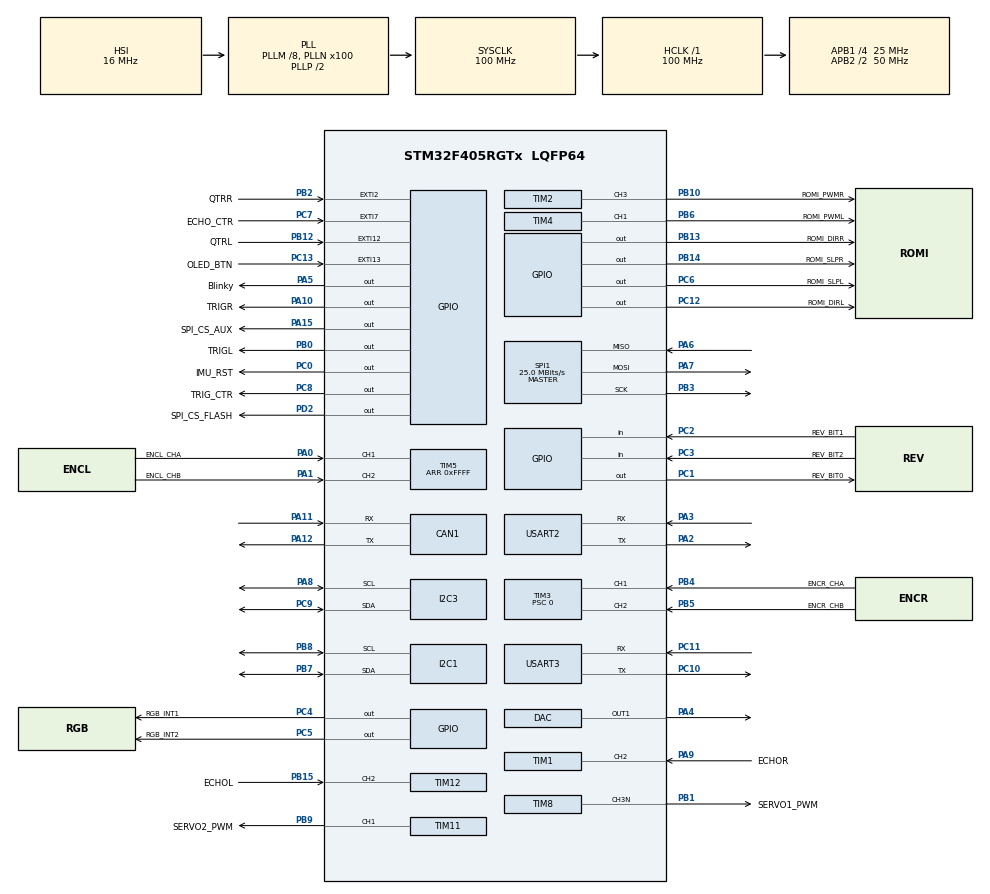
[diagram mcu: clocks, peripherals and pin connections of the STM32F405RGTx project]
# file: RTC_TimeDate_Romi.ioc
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CAN1.BS1=CAN_BS1_1TQ
CAN1.BS2=CAN_BS2_1TQ
CAN1.CalculateTimeQuantum=640.0
I2C1.I2C_Mode=I2C_Fast
Mcu.Family=STM32F4
Mcu.Name=STM32F405RGTx
Mcu.Package=LQFP64
Mcu.UserConstants=MOTOR_PWM_PERIOD,1000
NVIC.EXTI15_10_IRQn=true\:0\:0\:false\:false\:true\:true\:true
NVIC.EXTI9_5_IRQn=true\:0\:0\:false\:false\:true\:true\:true
NVIC.PriorityGroup=NVIC_PRIORITYGROUP_4
NVIC.TIM1_BRK_TIM9_IRQn=true\:0\:0\:false\:false\:true\:true\:true
NVIC.TIM2_IRQn=true\:0\:0\:false\:false\:true\:true\:true
NVIC.TIM6_DAC_IRQn=true\:0\:0\:false\:false\:true\:true\:true
NVIC.TIM7_IRQn=true\:0\:0\:false\:false\:true\:true\:true
NVIC.TIM8_BRK_TIM12_IRQn=true\:0\:0\:false\:false\:true\:true\:true
NVIC.USART2_IRQn=true\:0\:0\:false\:false\:true\:true\:true
PA0-WKUP.GPIO_Label=ENCL_CHA
PA0-WKUP.Signal=S_TIM5_CH1
PA1.GPIO_Label=ENCL_CHB
PA1.Signal=S_TIM5_CH2
PA10.GPIO_Label=TRIGR
PA10.Signal=GPIO_Output
PA11.Mode=Master
PA11.Signal=CAN1_RX
PA12.Mode=Master
PA12.Signal=CAN1_TX
PA13.Mode=Serial_Wire
PA13.Signal=SYS_JTMS-SWDIO
PA14.Mode=Serial_Wire
PA14.Signal=SYS_JTCK-SWCLK
PA15.GPIO_Label=SPI_CS_AUX
PA15.Signal=GPIO_Output
PA2.Mode=Asynchronous
PA2.Signal=USART2_TX
PA3.Mode=Asynchronous
PA3.Signal=USART2_RX
PA4.Signal=COMP_DAC1_group
PA5.GPIO_Label=Blinky
PA5.Signal=GPIO_Output
PA6.Mode=Full_Duplex_Master
PA6.Signal=SPI1_MISO
PA7.Mode=Full_Duplex_Master
PA7.Signal=SPI1_MOSI
PA8.Mode=I2C
PA8.Signal=I2C3_SCL
PA9.GPIO_Label=ECHOR
PA9.Signal=S_TIM1_CH2
PB0.GPIO_Label=TRIGL
PB0.Signal=GPIO_Output
PB1.GPIO_Label=SERVO1_PWM 
PB1.Mode=PWM Generation3 CH3N
PB1.Signal=TIM8_CH3N
PB10.GPIO_Label=ROMI_PWMR
PB10.Signal=S_TIM2_CH3
PB12.GPIO_Label=QTRL
PB12.Signal=GPXTI12
PB13.GPIO_Label=ROMI_DIRR
PB13.Signal=GPIO_Output
PB14.GPIO_Label=ROMI_SLPR
PB14.Signal=GPIO_Output
PB15.GPIO_Label=ECHOL
PB15.Signal=S_TIM12_CH2
PB2.GPIO_Label=QTRR
PB2.Signal=GPXTI2
PB3.Mode=Full_Duplex_Master
PB3.Signal=SPI1_SCK
PB4.GPIO_Label=ENCR_CHA
PB4.GPIO_PuPd=GPIO_NOPULL
PB4.Signal=S_TIM3_CH1
PB5.GPIO_Label=ENCR_CHB
PB5.GPIO_PuPd=GPIO_NOPULL
PB5.Signal=S_TIM3_CH2
PB6.GPIO_Label=ROMI_PWML
PB6.Signal=S_TIM4_CH1
PB7.Mode=I2C
PB7.Signal=I2C1_SDA
PB8.Mode=I2C
PB8.Signal=I2C1_SCL
PB9.GPIO_Label=SERVO2_PWM 
PB9.Signal=S_TIM11_CH1
PC0.GPIO_Label=IMU_RST
PC0.Signal=GPIO_Output
PC1.GPIO_Label=REV_BIT0
PC1.Signal=GPIO_Output
PC10.Mode=Asynchronous
PC10.Signal=USART3_TX
PC11.Mode=Asynchronous
PC11.Signal=USART3_RX
PC12.GPIO_Label=ROMI_DIRL 
PC12.Signal=GPIO_Output
PC13-ANTI_TAMP.GPIO_Label=OLED_BTN
PC13-ANTI_TAMP.GPIO_ModeDefaultEXTI=GPIO_MODE_IT_FALLING
PC13-ANTI_TAMP.Signal=GPXTI13
PC14-OSC32_IN.Mode=LSE-External-Oscillator
PC14-OSC32_IN.Signal=RCC_OSC32_IN
PC15-OSC32_OUT.Mode=LSE-External-Oscillator
PC15-OSC32_OUT.Signal=RCC_OSC32_OUT
PC2.GPIO_Label=REV_BIT1
PC2.Signal=GPIO_Input
PC3.GPIO_Label=REV_BIT2
PC3.Signal=GPIO_Input
PC4.GPIO_Label=RGB_INT1
PC4.Signal=GPIO_Output
PC5.GPIO_Label=RGB_INT2
PC5.Signal=GPIO_Output
PC6.GPIO_Label=ROMI_SLPL
PC6.Signal=GPIO_Output
PC7.GPIO_Label=ECHO_CTR
PC7.Signal=GPXTI7
PC8.GPIO_Label=TRIG_CTR
PC8.Signal=GPIO_Output
PC9.Mode=I2C
PC9.Signal=I2C3_SDA
PD2.GPIO_Label=SPI_CS_FLASH
PD2.Signal=GPIO_Output
PH0-OSC_IN.Mode=HSE-External-Oscillator
PH0-OSC_IN.Signal=RCC_OSC_IN
PH1-OSC_OUT.Mode=HSE-External-Oscillator
PH1-OSC_OUT.Signal=RCC_OSC_OUT
ProjectManager.HeapSize=0x200
ProjectManager.StackSize=0x400
ProjectManager.TargetToolchain=STM32CubeIDE
RCC.48MHZClocksFreq_Value=50000000
RCC.AHBFreq_Value=100000000
RCC.APB1CLKDivider=RCC_HCLK_DIV4
RCC.APB1Freq_Value=25000000
RCC.APB1TimFreq_Value=50000000
RCC.APB2CLKDivider=RCC_HCLK_DIV2
RCC.APB2Freq_Value=50000000
RCC.APB2TimFreq_Value=100000000
RCC.CortexFreq_Value=100000000
RCC.HCLKFreq_Value=100000000
RCC.HSE_VALUE=8000000
RCC.HSI_VALUE=16000000
RCC.PLLM=8
RCC.PLLN=100
RCC.RCC_RTC_Clock_SourceVirtual=RCC_RTCCLKSOURCE_LSI
RCC.SYSCLKFreq_VALUE=100000000
RCC.SYSCLKSource=RCC_SYSCLKSOURCE_PLLCLK
RCC.VCOOutputFreq_Value=200000000
RTC.Date=30
RTC.HourFormat=RTC_HOURFORMAT_12
RTC.Hours=7
RTC.Minutes=13
RTC.Month=RTC_MONTH_DECEMBER
RTC.TimeFormat=RTC_HOURFORMAT12_PM
RTC.WeekDay=RTC_WEEKDAY_WEDNESDAY
SH.COMP_DAC1_group.0=DAC_OUT1,DAC_OUT1
SH.S_TIM11_CH1.0=TIM11_CH1,PWM Generation1 CH1
SH.S_TIM12_CH2.0=TIM12_CH2,Input_Capture2_from_TI2
SH.S_TIM1_CH2.0=TIM1_CH2,Input_Capture2_from_TI2
SH.S_TIM2_CH3.0=TIM2_CH3,PWM Generation3 CH3
SH.S_TIM3_CH1.0=TIM3_CH1,Encoder_Interface
SH.S_TIM3_CH2.0=TIM3_CH2,Encoder_Interface
SH.S_TIM4_CH1.0=TIM4_CH1,PWM Generation1 CH1
SH.S_TIM5_CH1.0=TIM5_CH1,Encoder_Interface
SH.S_TIM5_CH2.0=TIM5_CH2,Encoder_Interface
SPI1.BaudRatePrescaler=SPI_BAUDRATEPRESCALER_2
SPI1.CalculateBaudRate=25.0 MBits/s
SPI1.Direction=SPI_DIRECTION_2LINES
SPI1.Mode=SPI_MODE_MASTER
SPI1.VirtualType=VM_MASTER
TIM1.Channel-Input_Capture2_from_TI2=TIM_CHANNEL_2
TIM1.ICFilter_CH2=4
TIM1.ICPolarity_CH2=TIM_INPUTCHANNELPOLARITY_BOTHEDGE
TIM1.Prescaler=50-1
TIM11.Channel=TIM_CHANNEL_1
TIM12.Channel-Input_Capture2_from_TI2=TIM_CHANNEL_2
TIM12.ICFilter_CH2=0
TIM12.ICPolarity_CH2=TIM_INPUTCHANNELPOLARITY_BOTHEDGE
TIM12.Prescaler=50-1
TIM2.Channel-PWM\ Generation3\ CH3=TIM_CHANNEL_3
TIM2.Period=MOTOR_PWM_PERIOD
TIM2.Prescaler=2-1
TIM3.CounterMode=TIM_COUNTERMODE_UP
TIM3.EncoderMode=TIM_ENCODERMODE_TI12
TIM3.Period=0xFFFF
TIM3.Prescaler=0
TIM4.Channel-PWM\ Generation1\ CH1=TIM_CHANNEL_1
TIM4.Period=MOTOR_PWM_PERIOD
TIM4.Prescaler=2-1
TIM5.EncoderMode=TIM_ENCODERMODE_TI12
TIM5.Period=0xFFFF
TIM6.Period=6241
TIM6.Prescaler=800-1
TIM7.Period=1000
TIM7.Prescaler=51-1
TIM8.Channel-PWM\ Generation3\ CH3N=TIM_CHANNEL_3
USART2.VirtualMode=VM_ASYNC
USART3.VirtualMode=VM_ASYNC
VP_RTC_VS_RTC_Activate.Mode=RTC_Enabled
VP_RTC_VS_RTC_Calendar.Mode=RTC_Calendar
VP_TIM11_VS_ClockSourceINT.Mode=Enable_Timer
VP_TIM12_VS_ClockSourceINT.Mode=Internal
VP_TIM1_VS_ClockSourceINT.Mode=Internal
VP_TIM2_VS_ClockSourceINT.Mode=Internal
VP_TIM4_VS_ClockSourceINT.Mode=Internal
VP_TIM6_VS_ClockSourceINT.Mode=Enable_Timer
VP_TIM7_VS_ClockSourceINT.Mode=Enable_Timer
board=custom

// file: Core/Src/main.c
/* USER CODE BEGIN Header */
/**
  ******************************************************************************
  * @file           : main.c
  * @brief          : Main program body
  ******************************************************************************
  * @attention
  *
  * <h2><center>&copy; Copyright (c) 2020 STMicroelectronics.
  * All rights reserved.</center></h2>
  *
  * This software component is licensed by ST under BSD 3-Clause license,
  * the "License"; You may not use this file except in compliance with the
  * License. You may obtain a copy of the License at:
  *                        opensource.org/licenses/BSD-3-Clause
  *
  ******************************************************************************
  */
/* USER CODE END Header */
#include "main.h"
#include "can.h"
#include "dac.h"
#include "i2c.h"
#include "rtc.h"
#include "spi.h"
#include "tim.h"
#include "usart.h"
#include "gpio.h"

/* USER CODE BEGIN Includes */

#include <stdio.h>
#include <string.h>
#include <stm32f4xx_hal.h>
#include <stm32f4xx_hal_rtc.h>
#include "app_main.h"

//******Setup PrintF****
#define IO_UART huart2 // **** change this to the UART your board uses ****

/* USER CODE END Includes */

/* USER CODE BEGIN PTD */
//  extern RTC_TimeTypeDef sTime = {0};
// extern RTC_DateTypeDef sDate = {0};
/* USER CODE END PTD */

/* USER CODE BEGIN PD */
extern TIM_HandleTypeDef htim1;  // Sonar Right
extern TIM_HandleTypeDef htim12; //Sonar Left
extern TIM_HandleTypeDef htim7; //Sonar 1mS Timer
extern UART_HandleTypeDef huart2;
/* USER CODE END PD */

void SystemClock_Config(void);

int main(void)
{

  /* MCU Configuration--------------------------------------------------------*/

  /* Reset of all peripherals, Initializes the Flash interface and the Systick. */
  HAL_Init();

  /* Configure the system clock */
  SystemClock_Config();

  /* Initialize all configured peripherals */
  MX_GPIO_Init();
  MX_TIM2_Init();
  MX_TIM3_Init();
  MX_USART2_UART_Init();
  MX_DAC_Init();
  MX_I2C1_Init();
  MX_I2C3_Init();
  MX_SPI1_Init();
  MX_TIM4_Init();
  MX_TIM5_Init();
  MX_TIM6_Init();
  MX_TIM11_Init();
  MX_USART3_UART_Init();
  MX_CAN1_Init();
  MX_TIM7_Init();
  MX_TIM1_Init();
  MX_TIM12_Init();
  MX_TIM8_Init();
  MX_RTC_Init();

  /* Infinite loop */
  /* USER CODE BEGIN WHILE */
  while (1)
  {

	  appMain(); // will not return from here
    /* USER CODE END WHILE */

  }
}

void SystemClock_Config(void)
{
  RCC_OscInitTypeDef RCC_OscInitStruct = {0};
  RCC_ClkInitTypeDef RCC_ClkInitStruct = {0};
  RCC_PeriphCLKInitTypeDef PeriphClkInitStruct = {0};

  /** Configure the main internal regulator output voltage
  */
  __HAL_RCC_PWR_CLK_ENABLE();
  __HAL_PWR_VOLTAGESCALING_CONFIG(PWR_REGULATOR_VOLTAGE_SCALE1);
  /** Initializes the RCC Oscillators according to the specified parameters
  * in the RCC_OscInitTypeDef structure.
  */
  RCC_OscInitStruct.OscillatorType = RCC_OSCILLATORTYPE_HSI|RCC_OSCILLATORTYPE_LSI;
  RCC_OscInitStruct.HSIState = RCC_HSI_ON;
  RCC_OscInitStruct.HSICalibrationValue = RCC_HSICALIBRATION_DEFAULT;
  RCC_OscInitStruct.LSIState = RCC_LSI_ON;
  RCC_OscInitStruct.PLL.PLLState = RCC_PLL_ON;
  RCC_OscInitStruct.PLL.PLLSource = RCC_PLLSOURCE_HSI;
  RCC_OscInitStruct.PLL.PLLM = 8;
  RCC_OscInitStruct.PLL.PLLN = 100;
  RCC_OscInitStruct.PLL.PLLP = RCC_PLLP_DIV2;
  RCC_OscInitStruct.PLL.PLLQ = 4;
  if (HAL_RCC_OscConfig(&RCC_OscInitStruct) != HAL_OK)
  {
    Error_Handler();
  }
  /** Initializes the CPU, AHB and APB buses clocks
  */
  RCC_ClkInitStruct.ClockType = RCC_CLOCKTYPE_HCLK|RCC_CLOCKTYPE_SYSCLK
                              |RCC_CLOCKTYPE_PCLK1|RCC_CLOCKTYPE_PCLK2;
  RCC_ClkInitStruct.SYSCLKSource = RCC_SYSCLKSOURCE_PLLCLK;
  RCC_ClkInitStruct.AHBCLKDivider = RCC_SYSCLK_DIV1;
  RCC_ClkInitStruct.APB1CLKDivider = RCC_HCLK_DIV4;
  RCC_ClkInitStruct.APB2CLKDivider = RCC_HCLK_DIV2;

  if (HAL_RCC_ClockConfig(&RCC_ClkInitStruct, FLASH_LATENCY_3) != HAL_OK)
  {
    Error_Handler();
  }
  PeriphClkInitStruct.PeriphClockSelection = RCC_PERIPHCLK_RTC;
  PeriphClkInitStruct.RTCClockSelection = RCC_RTCCLKSOURCE_LSI;
  if (HAL_RCCEx_PeriphCLKConfig(&PeriphClkInitStruct) != HAL_OK)
  {
    Error_Handler();
  }
}

/* USER CODE BEGIN 4 */

/* This function sets up the serial printf*/
int __io_putchar(int ch) {
    HAL_StatusTypeDef sts = HAL_UART_Transmit(&IO_UART ,(uint8_t*)&ch,1,10);
    if(sts == HAL_OK) {
        return ch;
    }
    return EOF;
}
int __io_getchar(void) {
    if(__HAL_UART_GET_FLAG(&IO_UART , UART_FLAG_RXNE)) {
        uint8_t ch=0;
        __HAL_UART_CLEAR_FEFLAG(&IO_UART );
        __HAL_UART_CLEAR_OREFLAG(&IO_UART );
        __HAL_UART_CLEAR_PEFLAG(&IO_UART );
        HAL_StatusTypeDef sts = HAL_UART_Receive(&IO_UART ,&ch,1,1);
        if(sts == HAL_OK) {
            return (int)ch;
        }
    }
    return EOF;
}
int _read(int file, char *ptr, int len){
int DataIdx;
    for (DataIdx = 0; DataIdx < len; DataIdx++) {
        int ch =  __io_getchar();
        if(ch != EOF) {
             *ptr++ = ch;
        }
        else {
            return DataIdx;
        }
    }
    return len;
}

/* USER CODE END 4 */

void Error_Handler(void)
{
}

/************************ (C) COPYRIGHT STMicroelectronics *****END OF FILE****/
